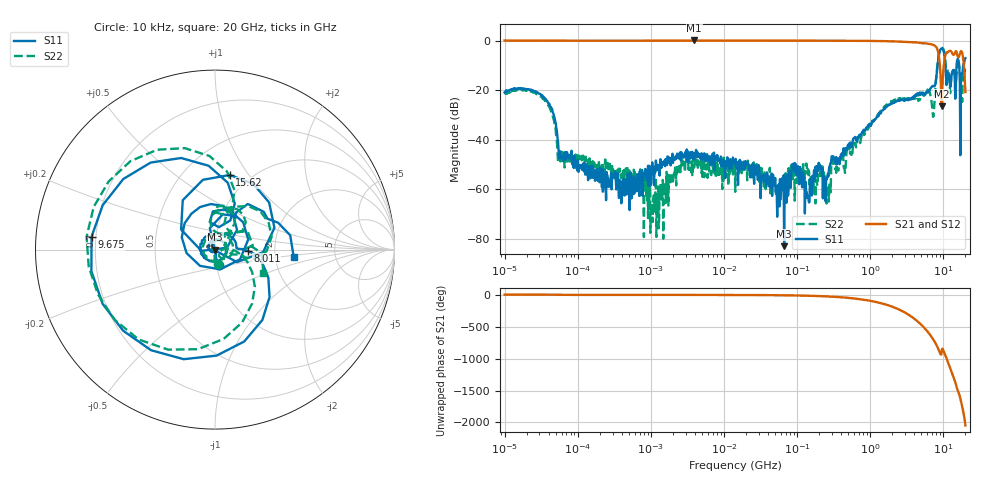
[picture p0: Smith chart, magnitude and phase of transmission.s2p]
#  HZ  S  RI  R  50.00
! Rohde & Schwarz Vector Network Analyzer
! Rohde-Schwarz,ZNL20-2Port,1323001220101312,1.72.1.6-23.02.1.246
! Created: UTC 10/2/2024, 9:17:26 PM
! freq[Hz]  re:S11  im:S11  re:S21  im:S21  re:S12  im:S12  re:S22  im:S22
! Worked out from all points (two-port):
!   1000 points, 10 kHz to 20 GHz, reference 50 ohm
!   highest |S21| = 0.07 dB at 3.911 MHz (marker M1); lowest = -26.6 dB at 9.536 GHz (marker M2)
!   |S21| within 3 dB of the highest: start of sweep to 8.106 GHz
!   lowest |S11| = -83.0 dB at 66.41 MHz (marker M3), VSWR 1.00, Z = 50 + j0.00685 ohm
!   |S11| at or under -10 dB: start of sweep to 8.332 GHz; 10.65 GHz to 15.16 GHz (4.509 GHz wide, 34.9 % of centre); 16.42 GHz to 18.63 GHz (2.214 GHz wide, 12.6 % of centre)
!   |S22| runs from -80.1 to -2.9 dB; largest |S21 - S12| = 0.01
!   S11 on the Smith chart (normalised r, x): 10 kHz: 1.03, -0.18; 8.011 GHz: 1.44, -0.02; 9.675 GHz: 0.18, +0.05; 15.62 GHz: 0.81, +0.82; 20 GHz: 2.54, -0.28
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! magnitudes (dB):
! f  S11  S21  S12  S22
! 10 kHz  -20.9  0.0  0.0  -21.7
! 34.37 kHz  -23.1  0.0  0.0  -23.8
! 57.13 kHz  -44.7  0.0  -0.1  -45.0
! 113.1 kHz  -51.3  0.0  -0.1  -48.4
! 417.8 kHz  -61.4  0.0  -0.1  -51.6
! 1.26 MHz  -50.3  0.0  0.0  -58.9
! 3.911 MHz  -47.9  0.1  0.0  -51.3
! 14.25 MHz  -49.2  0.0  0.0  -61.1
! 66.41 MHz  -83.0  0.0  -0.1  -60.0
! 90.09 MHz  -51.0  0.0  -0.1  -53.9
! 158.7 MHz  -62.6  0.0  -0.1  -54.8
! 215.3 MHz  -51.6  0.0  -0.1  -51.0
! 267.8 MHz  -54.9  0.0  -0.1  -59.1
! 314.1 MHz  -46.8  0.0  -0.1  -48.4
! 1.795 GHz  -26.1  -0.2  -0.3  -25.4
! 7.132 GHz  -18.3  -1.6  -1.6  -28.9
! 8.011 GHz  -14.8  -2.7  -2.7  -14.3
! 9.536 GHz  -3.1  -26.6  -26.6  -2.9
! 9.675 GHz  -3.2  -19.5  -19.5  -2.9
! 11.69 GHz  -13.0  -4.4  -4.4  -12.6
! 15.62 GHz  -7.5  -6.2  -6.2  -10.3
! 20 GHz  -7.1  -20.8  -20.8  -10.5
